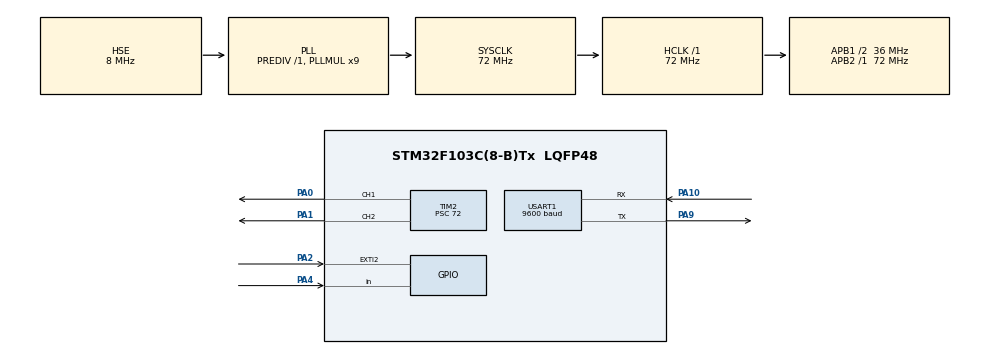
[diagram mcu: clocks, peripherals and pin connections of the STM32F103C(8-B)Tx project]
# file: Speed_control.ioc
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Mcu.Family=STM32F1
Mcu.Name=STM32F103C(8-B)Tx
Mcu.Package=LQFP48
NVIC.EXTI2_IRQn=true\:0\:0\:false\:false\:true\:true\:true\:true
NVIC.PriorityGroup=NVIC_PRIORITYGROUP_4
NVIC.TIM3_IRQn=true\:0\:0\:false\:false\:true\:true\:true\:true
PA0-WKUP.Signal=S_TIM2_CH1_ETR
PA1.Signal=S_TIM2_CH2
PA10.Mode=Asynchronous
PA10.Signal=USART1_RX
PA13.Mode=Serial_Wire
PA13.Signal=SYS_JTMS-SWDIO
PA14.Mode=Serial_Wire
PA14.Signal=SYS_JTCK-SWCLK
PA2.Signal=GPXTI2
PA4.Signal=GPIO_Input
PA9.Mode=Asynchronous
PA9.Signal=USART1_TX
PD0-OSC_IN.Mode=HSE-External-Oscillator
PD0-OSC_IN.Signal=RCC_OSC_IN
PD1-OSC_OUT.Mode=HSE-External-Oscillator
PD1-OSC_OUT.Signal=RCC_OSC_OUT
ProjectManager.HeapSize=0x200
ProjectManager.StackSize=0x400
ProjectManager.TargetToolchain=MDK-ARM V5.32
RCC.AHBFreq_Value=72000000
RCC.APB1CLKDivider=RCC_HCLK_DIV2
RCC.APB1Freq_Value=36000000
RCC.APB1TimFreq_Value=72000000
RCC.APB2Freq_Value=72000000
RCC.APB2TimFreq_Value=72000000
RCC.HCLKFreq_Value=72000000
RCC.PLLMUL=RCC_PLL_MUL9
RCC.PLLSourceVirtual=RCC_PLLSOURCE_HSE
RCC.SYSCLKFreq_VALUE=72000000
RCC.SYSCLKSource=RCC_SYSCLKSOURCE_PLLCLK
RCC.USBFreq_Value=72000000
SH.S_TIM2_CH1_ETR.0=TIM2_CH1,PWM Generation1 CH1
SH.S_TIM2_CH2.0=TIM2_CH2,PWM Generation2 CH2
TIM2.Channel-PWM\ Generation1\ CH1=TIM_CHANNEL_1
TIM2.Channel-PWM\ Generation2\ CH2=TIM_CHANNEL_2
TIM2.Period=100
TIM2.Prescaler=72
TIM3.Period=10
TIM3.Prescaler=72
USART1.BaudRate=9600
USART1.VirtualMode=VM_ASYNC
VP_TIM2_VS_ClockSourceINT.Mode=Internal
VP_TIM3_VS_ClockSourceINT.Mode=Internal
board=custom

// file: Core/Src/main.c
/* USER CODE BEGIN Header */
/**
  ******************************************************************************
  * @file           : main.c
  * @brief          : Main program body
  ******************************************************************************
  * @attention
  *
  * Copyright (c) 2023 STMicroelectronics.
  * All rights reserved.
  *
  * This software is licensed under terms that can be found in the LICENSE file
  * in the root directory of this software component.
  * If no LICENSE file comes with this software, it is provided AS-IS.
  *
  ******************************************************************************
  */
/* USER CODE END Header */
#include "main.h"

/* USER CODE BEGIN Includes */
#include <stdlib.h>
#include <stdio.h>
volatile int count;
volatile uint32_t time = 0 ;
uint32_t prevT= 0;
int posPrev = 0;
int speedd;
float vt;
float v1Filt = 0;
float v1FiltAc = 0;
float v1Prev = 0;
float v1PrevAc=0;
float eintergral;
char transchar[10];
/* USER CODE END Includes */

TIM_HandleTypeDef htim2;
TIM_HandleTypeDef htim3;

UART_HandleTypeDef huart1;

void SystemClock_Config(void);
static void MX_GPIO_Init(void);
static void MX_TIM2_Init(void);
static void MX_TIM3_Init(void);
static void MX_USART1_UART_Init(void);

/* USER CODE BEGIN 0 */
void HAL_GPIO_EXTI_Callback(uint16_t GPIO_Pin)
{
  /* Prevent unused argument(s) compilation warning */

	if (GPIO_Pin == GPIO_PIN_2){
		if (HAL_GPIO_ReadPin(GPIOA,GPIO_PIN_4) == 0){
			count ++;
		}
		if (HAL_GPIO_ReadPin(GPIOA,GPIO_PIN_4) == 1){
			count --;
		}
	}

  /* NOTE: This function Should not be modified, when the callback is needed,
           the HAL_GPIO_EXTI_Callback could be implemented in the user file
   */
}
void HAL_TIM_PeriodElapsedCallback(TIM_HandleTypeDef *htim){
	time+=10;
}

void setMotor(int dir , int pwmVal){
  if (dir == 1){
    __HAL_TIM_SET_COMPARE(&htim2,TIM_CHANNEL_1,0);
		__HAL_TIM_SET_COMPARE(&htim2,TIM_CHANNEL_2,pwmVal);
  }
  if (dir == -1){
    __HAL_TIM_SET_COMPARE(&htim2,TIM_CHANNEL_1,pwmVal);
		__HAL_TIM_SET_COMPARE(&htim2,TIM_CHANNEL_2,0);
  }
  else{
    __HAL_TIM_SET_COMPARE(&htim2,TIM_CHANNEL_1,0);
		__HAL_TIM_SET_COMPARE(&htim2,TIM_CHANNEL_2,0);
  }
}
/* USER CODE END 0 */

int main(void)
{

  /* MCU Configuration--------------------------------------------------------*/

  /* Reset of all peripherals, Initializes the Flash interface and the Systick. */
  HAL_Init();

  /* Configure the system clock */
  SystemClock_Config();

  /* Initialize all configured peripherals */
  MX_GPIO_Init();
  MX_TIM2_Init();
  MX_TIM3_Init();
  MX_USART1_UART_Init();
  /* USER CODE BEGIN 2 */
HAL_TIM_PWM_Start(&htim2,TIM_CHANNEL_1);
HAL_TIM_PWM_Start(&htim2,TIM_CHANNEL_2);
HAL_TIM_Base_Start_IT(&htim3);
  /* USER CODE END 2 */

  /* Infinite loop */
  /* USER CODE BEGIN WHILE */
  while (1)
  {
		int pos = 0;
		pos = count;

		uint32_t currT = time;
		float deltaT = ((float)(currT-prevT))/1.0e6;
		float veloc = (pos - posPrev)/deltaT;
		posPrev = pos;
		prevT = currT;
		float actualv = veloc/65*60;
		float v1 = veloc/650*60;
		v1Filt = 0.854*v1Filt + 0.0728*v1 + 0.0728*v1Prev;
		v1FiltAc = 0.854*v1FiltAc + 0.0728*actualv + 0.0728*v1PrevAc;
		v1Prev = v1;
		v1PrevAc = actualv;
		float vt = 100;

		// PI function
		float kp = 1;
		float ki = 10;
		float e = vt-v1Filt;
		eintergral += e*deltaT;
		int u = kp*e+ki*eintergral;

			int dir = -1;
			if(u<0){
				dir = 1;
			}
			int pwr = abs(u);
			if(pwr > 100){
				pwr = 100;
			}
			int v1Filt1 = (float)v1Filt;
			setMotor(dir,pwr);
			sprintf(transchar,"%d",v1Filt1);
			HAL_UART_Transmit(&huart1,(uint8_t*)transchar,sizeof(transchar),300);
    /* USER CODE END WHILE */

  }
}

void SystemClock_Config(void)
{
  RCC_OscInitTypeDef RCC_OscInitStruct = {0};
  RCC_ClkInitTypeDef RCC_ClkInitStruct = {0};

  /** Initializes the RCC Oscillators according to the specified parameters
  * in the RCC_OscInitTypeDef structure.
  */
  RCC_OscInitStruct.OscillatorType = RCC_OSCILLATORTYPE_HSE;
  RCC_OscInitStruct.HSEState = RCC_HSE_ON;
  RCC_OscInitStruct.HSEPredivValue = RCC_HSE_PREDIV_DIV1;
  RCC_OscInitStruct.HSIState = RCC_HSI_ON;
  RCC_OscInitStruct.PLL.PLLState = RCC_PLL_ON;
  RCC_OscInitStruct.PLL.PLLSource = RCC_PLLSOURCE_HSE;
  RCC_OscInitStruct.PLL.PLLMUL = RCC_PLL_MUL9;
  if (HAL_RCC_OscConfig(&RCC_OscInitStruct) != HAL_OK)
  {
    Error_Handler();
  }

  /** Initializes the CPU, AHB and APB buses clocks
  */
  RCC_ClkInitStruct.ClockType = RCC_CLOCKTYPE_HCLK|RCC_CLOCKTYPE_SYSCLK
                              |RCC_CLOCKTYPE_PCLK1|RCC_CLOCKTYPE_PCLK2;
  RCC_ClkInitStruct.SYSCLKSource = RCC_SYSCLKSOURCE_PLLCLK;
  RCC_ClkInitStruct.AHBCLKDivider = RCC_SYSCLK_DIV1;
  RCC_ClkInitStruct.APB1CLKDivider = RCC_HCLK_DIV2;
  RCC_ClkInitStruct.APB2CLKDivider = RCC_HCLK_DIV1;

  if (HAL_RCC_ClockConfig(&RCC_ClkInitStruct, FLASH_LATENCY_2) != HAL_OK)
  {
    Error_Handler();
  }
}

static void MX_TIM2_Init(void)
{

  TIM_ClockConfigTypeDef sClockSourceConfig = {0};
  TIM_MasterConfigTypeDef sMasterConfig = {0};
  TIM_OC_InitTypeDef sConfigOC = {0};

  htim2.Instance = TIM2;
  htim2.Init.Prescaler = 72;
  htim2.Init.CounterMode = TIM_COUNTERMODE_UP;
  htim2.Init.Period = 100;
  htim2.Init.ClockDivision = TIM_CLOCKDIVISION_DIV1;
  htim2.Init.AutoReloadPreload = TIM_AUTORELOAD_PRELOAD_DISABLE;
  if (HAL_TIM_Base_Init(&htim2) != HAL_OK)
  {
    Error_Handler();
  }
  sClockSourceConfig.ClockSource = TIM_CLOCKSOURCE_INTERNAL;
  if (HAL_TIM_ConfigClockSource(&htim2, &sClockSourceConfig) != HAL_OK)
  {
    Error_Handler();
  }
  if (HAL_TIM_PWM_Init(&htim2) != HAL_OK)
  {
    Error_Handler();
  }
  sMasterConfig.MasterOutputTrigger = TIM_TRGO_RESET;
  sMasterConfig.MasterSlaveMode = TIM_MASTERSLAVEMODE_DISABLE;
  if (HAL_TIMEx_MasterConfigSynchronization(&htim2, &sMasterConfig) != HAL_OK)
  {
    Error_Handler();
  }
  sConfigOC.OCMode = TIM_OCMODE_PWM1;
  sConfigOC.Pulse = 0;
  sConfigOC.OCPolarity = TIM_OCPOLARITY_HIGH;
  sConfigOC.OCFastMode = TIM_OCFAST_DISABLE;
  if (HAL_TIM_PWM_ConfigChannel(&htim2, &sConfigOC, TIM_CHANNEL_1) != HAL_OK)
  {
    Error_Handler();
  }
  if (HAL_TIM_PWM_ConfigChannel(&htim2, &sConfigOC, TIM_CHANNEL_2) != HAL_OK)
  {
    Error_Handler();
  }
  HAL_TIM_MspPostInit(&htim2);

}

static void MX_TIM3_Init(void)
{

  TIM_ClockConfigTypeDef sClockSourceConfig = {0};
  TIM_MasterConfigTypeDef sMasterConfig = {0};

  htim3.Instance = TIM3;
  htim3.Init.Prescaler = 72;
  htim3.Init.CounterMode = TIM_COUNTERMODE_UP;
  htim3.Init.Period = 10;
  htim3.Init.ClockDivision = TIM_CLOCKDIVISION_DIV1;
  htim3.Init.AutoReloadPreload = TIM_AUTORELOAD_PRELOAD_DISABLE;
  if (HAL_TIM_Base_Init(&htim3) != HAL_OK)
  {
    Error_Handler();
  }
  sClockSourceConfig.ClockSource = TIM_CLOCKSOURCE_INTERNAL;
  if (HAL_TIM_ConfigClockSource(&htim3, &sClockSourceConfig) != HAL_OK)
  {
    Error_Handler();
  }
  sMasterConfig.MasterOutputTrigger = TIM_TRGO_RESET;
  sMasterConfig.MasterSlaveMode = TIM_MASTERSLAVEMODE_DISABLE;
  if (HAL_TIMEx_MasterConfigSynchronization(&htim3, &sMasterConfig) != HAL_OK)
  {
    Error_Handler();
  }

}

static void MX_USART1_UART_Init(void)
{

  huart1.Instance = USART1;
  huart1.Init.BaudRate = 9600;
  huart1.Init.WordLength = UART_WORDLENGTH_8B;
  huart1.Init.StopBits = UART_STOPBITS_1;
  huart1.Init.Parity = UART_PARITY_NONE;
  huart1.Init.Mode = UART_MODE_TX_RX;
  huart1.Init.HwFlowCtl = UART_HWCONTROL_NONE;
  huart1.Init.OverSampling = UART_OVERSAMPLING_16;
  if (HAL_UART_Init(&huart1) != HAL_OK)
  {
    Error_Handler();
  }

}

static void MX_GPIO_Init(void)
{
  GPIO_InitTypeDef GPIO_InitStruct = {0};

  /* GPIO Ports Clock Enable */
  __HAL_RCC_GPIOD_CLK_ENABLE();
  __HAL_RCC_GPIOA_CLK_ENABLE();

  /*Configure GPIO pin : PA2 */
  GPIO_InitStruct.Pin = GPIO_PIN_2;
  GPIO_InitStruct.Mode = GPIO_MODE_IT_RISING;
  GPIO_InitStruct.Pull = GPIO_NOPULL;
  HAL_GPIO_Init(GPIOA, &GPIO_InitStruct);

  /*Configure GPIO pin : PA4 */
  GPIO_InitStruct.Pin = GPIO_PIN_4;
  GPIO_InitStruct.Mode = GPIO_MODE_INPUT;
  GPIO_InitStruct.Pull = GPIO_NOPULL;
  HAL_GPIO_Init(GPIOA, &GPIO_InitStruct);

  /* EXTI interrupt init*/
  HAL_NVIC_SetPriority(EXTI2_IRQn, 0, 0);
  HAL_NVIC_EnableIRQ(EXTI2_IRQn);

}

void Error_Handler(void)
{
  __disable_irq();
  while (1)
  {
  }
}
